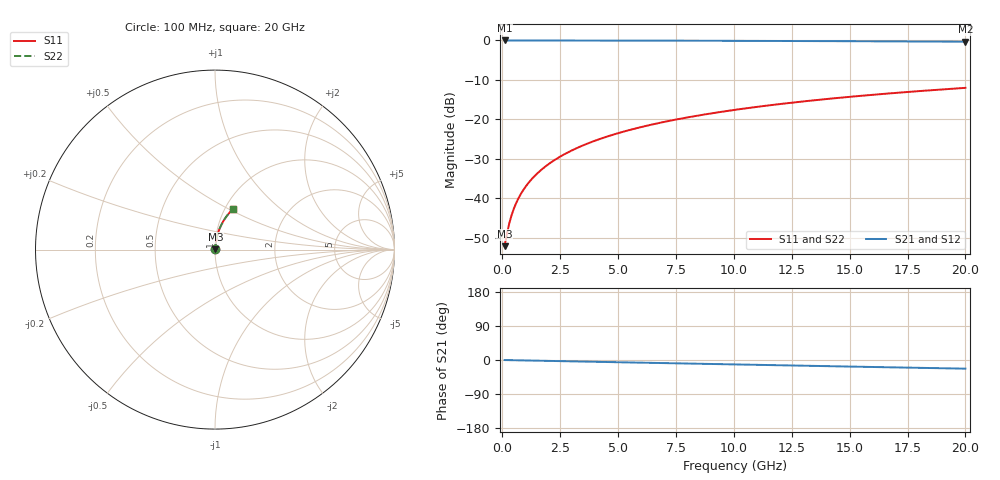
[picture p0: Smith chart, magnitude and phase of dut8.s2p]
! Touchstone file exported from HFSS 2026.1.0
!  File:  C:/ffzhzh/LocalFiles/Ansys_Project_Files/temp_train_TMRDL_8_1782879969_39760.aedt
!  Generated:  12:28:56 PM Jul  1, 2026
!  Design:  TMRDL
!  Project:  temp_train_TMRDL_8_1782879969_39760
! Variables:
!  h_bsmrdl = 2um
!  h_ox = 20um
!  h_rdl = 5um
!  h_sub = 80um
!  h_tmrdl = 2.33um
!  h_tsv = 80um
!  h_via = 3um
!  l_bsmrdl = 300um
!  l_sub = 666.18um
!  l_tmrdl = 266.18um
!  m_sub = 200um
!  pitch = 57.95um
!  r_tsv = 6um
!  s_tmrdl = 10um
!  w_bsmrdl = 18um
!  w_sub = 500um
!  w_tmrdl = 24.91um
!  x_tsv_center1 = 278.635um
!  x_tsv_center2 = 596.635um
!  x_tsv_center3 = 887.725um
!  x_tsv_center4 = 1205.725um
!  x_tsv_center5 = 1496.815um
!  x_tsv_center6 = 1814.815um
# GHz S MA R 50.000000
! Terminal data exported
! Port[1] = TM_RDL1_1_T1
! Port[2] = TM_RDL1_1_T2
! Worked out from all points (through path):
!   200 points, 100 MHz to 20 GHz, reference 50 ohm
!   highest |S21| = -0.02 dB at 100 MHz (marker M1); lowest = -0.3 dB at 20 GHz (marker M2)
!   group delay of S21, straight-line fit = 3.18 ps
!   lowest |S11| = -52.2 dB at 100 MHz (marker M3), VSWR 1.00, Z = 50.2 + j0.145 ohm
!   |S11| at or under -10 dB: start of sweep to end of sweep
!   |S22| runs from -52.2 to -12.0 dB; largest |S21 - S12| = 3.3e-15
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0.1  0.002461 35.9  0.998 -0.1  0.998 -0.1  0.002461 35.9
! Gamma 0 0 0 0
! Port Impedance 50 0 50 0
0.2  0.003529 54.4  0.998 -0.2  0.998 -0.2  0.003529 54.4
0.3  0.004776 63.4  0.9979 -0.4  0.9979 -0.4  0.004776 63.4
0.4  0.00607 68.4  0.9978 -0.5  0.9978 -0.5  0.00607 68.4
0.5  0.007373 71.6  0.9977 -0.6  0.9977 -0.6  0.007373 71.6
0.6  0.008677 73.8  0.9976 -0.7  0.9976 -0.7  0.008677 73.8
0.8  0.01128 76.6  0.9975 -1.0  0.9975 -1.0  0.01128 76.6
1.1  0.01519 79.1  0.9974 -1.3  0.9974 -1.3  0.01519 79.1
1.3  0.01781 80.2  0.9973 -1.5  0.9973 -1.5  0.01781 80.2
1.6  0.02175 81.2  0.9972 -1.9  0.9972 -1.9  0.02175 81.2
2.1  0.02834 82.1  0.9969 -2.5  0.9969 -2.5  0.02834 82.1
2.7  0.03626 82.5  0.9966 -3.2  0.9966 -3.2  0.03626 82.5
3.5  0.04684 82.4  0.9961 -4.1  0.9961 -4.1  0.04684 82.4
4.2  0.05607 82.1  0.9955 -5.0  0.9955 -5.0  0.05607 82.1
5  0.06659 81.5  0.9948 -5.9  0.9948 -5.9  0.06659 81.5
5.9  0.07838 80.8  0.9938 -6.9  0.9938 -6.9  0.07838 80.8
6.8  0.0901 79.9  0.9926 -8.0  0.9926 -8.0  0.0901 79.9
8.3  0.1095 78.4  0.9904 -9.7  0.9904 -9.7  0.1095 78.4
10.1  0.1323 76.5  0.9873 -11.8  0.9873 -11.8  0.1323 76.5
13.4  0.1732 72.9  0.9803 -15.6  0.9803 -15.6  0.1732 72.9
16.7  0.2125 69.4  0.972 -19.2  0.972 -19.2  0.2125 69.4
20  0.2501 65.9  0.9625 -22.8  0.9625 -22.8  0.2501 65.8
